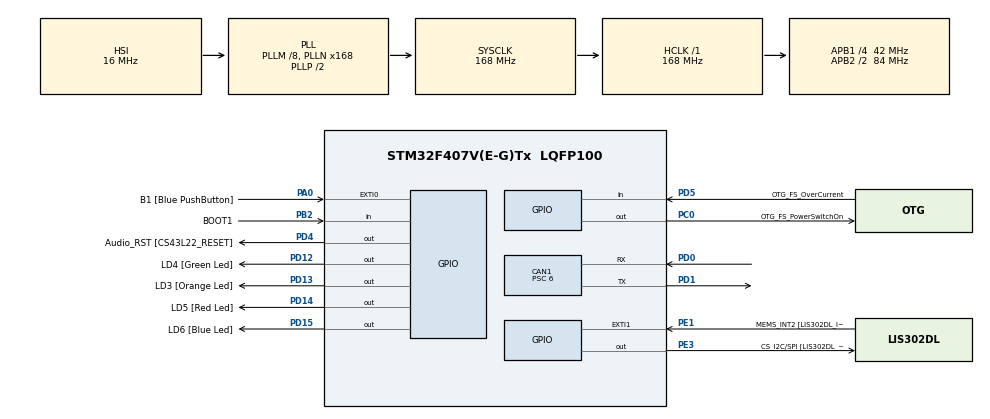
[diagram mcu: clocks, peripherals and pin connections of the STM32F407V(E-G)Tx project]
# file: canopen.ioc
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CAN1.BS1=CAN_BS1_11TQ
CAN1.BS2=CAN_BS2_2TQ
CAN1.CalculateBaudRate=500000
CAN1.CalculateTimeBit=2000
CAN1.CalculateTimeQuantum=142.85714285714286
CAN1.NART=ENABLE
CAN1.Prescaler=6
Mcu.Family=STM32F4
Mcu.Name=STM32F407V(E-G)Tx
Mcu.Package=LQFP100
NVIC.CAN1_RX0_IRQn=true\:0\:0\:false\:false\:true\:true\:true\:true
NVIC.PriorityGroup=NVIC_PRIORITYGROUP_0
PA0-WKUP.GPIO_Label=B1 [Blue PushButton]
PA0-WKUP.Signal=GPXTI0
PA10.GPIO_Label=OTG_FS_ID
PA10.GPIO_Mode=GPIO_MODE_AF_PP
PA10.GPIO_PuPd=GPIO_NOPULL
PA10.GPIO_Speed=GPIO_SPEED_FREQ_LOW
PA10.Signal=USB_OTG_FS_ID
PA11.GPIO_Label=OTG_FS_DM
PA11.GPIO_Mode=GPIO_MODE_AF_PP
PA11.GPIO_PuPd=GPIO_NOPULL
PA11.GPIO_Speed=GPIO_SPEED_FREQ_LOW
PA11.Signal=USB_OTG_FS_DM
PA12.GPIO_Label=OTG_FS_DP
PA12.GPIO_Mode=GPIO_MODE_AF_PP
PA12.GPIO_PuPd=GPIO_NOPULL
PA12.GPIO_Speed=GPIO_SPEED_FREQ_LOW
PA12.Signal=USB_OTG_FS_DP
PA13.GPIO_Label=SWDIO
PA13.Signal=SYS_JTMS-SWDIO
PA14.GPIO_Label=SWCLK
PA14.Signal=SYS_JTCK-SWCLK
PA4.GPIO_Label=I2S3_WS [CS43L22_LRCK]
PA4.GPIO_Mode=GPIO_MODE_AF_PP
PA4.GPIO_PuPd=GPIO_NOPULL
PA4.GPIO_Speed=GPIO_SPEED_FREQ_LOW
PA4.Signal=I2S3_WS
PA5.GPIO_Label=SPI1_SCK [LIS302DL_SCL/SPC]
PA5.GPIO_Mode=GPIO_MODE_AF_PP
PA5.GPIO_PuPd=GPIO_NOPULL
PA5.GPIO_Speed=GPIO_SPEED_FREQ_LOW
PA5.Signal=SPI1_SCK
PA6.GPIO_Label=SPI1_MISO [LIS302DL_SDO]
PA6.GPIO_Mode=GPIO_MODE_AF_PP
PA6.GPIO_PuPd=GPIO_NOPULL
PA6.GPIO_Speed=GPIO_SPEED_FREQ_LOW
PA6.Signal=SPI1_MISO
PA7.GPIO_Label=SPI1_MOSI [LIS302DL_SDA/SDI/SDO]
PA7.GPIO_Mode=GPIO_MODE_AF_PP
PA7.GPIO_PuPd=GPIO_NOPULL
PA7.GPIO_Speed=GPIO_SPEED_FREQ_LOW
PA7.Signal=SPI1_MOSI
PA9.GPIO_Label=VBUS_FS
PA9.GPIO_Mode=GPIO_MODE_INPUT
PA9.GPIO_PuPd=GPIO_NOPULL
PA9.Signal=USB_OTG_FS_VBUS
PB10.GPIO_Label=CLK_IN [MP45DT02_CLK]
PB10.GPIO_Mode=GPIO_MODE_AF_PP
PB10.GPIO_PuPd=GPIO_NOPULL
PB10.GPIO_Speed=GPIO_SPEED_FREQ_LOW
PB10.Signal=I2S2_CK
PB2.GPIO_Label=BOOT1
PB2.GPIO_Mode=GPIO_MODE_INPUT
PB2.GPIO_PuPd=GPIO_NOPULL
PB2.Signal=GPIO_Input
PB3.GPIO_Label=SWO
PB3.Signal=SYS_JTDO-SWO
PB6.GPIO_Label=Audio_SCL [CS43L22_SCL]
PB6.GPIO_Mode=GPIO_MODE_AF_OD
PB6.GPIO_PuPd=GPIO_NOPULL
PB6.GPIO_Speed=GPIO_SPEED_FREQ_LOW
PB6.Signal=I2C1_SCL
PB9.GPIO_Label=Audio_SDA [CS43L22_SDA]
PB9.GPIO_Mode=GPIO_MODE_AF_OD
PB9.GPIO_PuPd=GPIO_NOPULL
PB9.GPIO_Speed=GPIO_SPEED_FREQ_LOW
PB9.Signal=I2C1_SDA
PC0.GPIO_Label=OTG_FS_PowerSwitchOn
PC0.GPIO_PuPd=GPIO_NOPULL
PC0.GPIO_Speed=GPIO_SPEED_FREQ_LOW
PC0.PinState=GPIO_PIN_SET
PC0.Signal=GPIO_Output
PC10.GPIO_Label=I2S3_SCK [CS43L22_SCLK]
PC10.GPIO_Mode=GPIO_MODE_AF_PP
PC10.GPIO_PuPd=GPIO_NOPULL
PC10.GPIO_Speed=GPIO_SPEED_FREQ_LOW
PC10.Signal=I2S3_CK
PC12.GPIO_Label=I2S3_SD [CS43L22_SDIN]
PC12.GPIO_Mode=GPIO_MODE_AF_PP
PC12.GPIO_PuPd=GPIO_NOPULL
PC12.GPIO_Speed=GPIO_SPEED_FREQ_LOW
PC12.Signal=I2S3_SD
PC14-OSC32_IN.GPIO_Label=PC14-OSC32_IN
PC14-OSC32_IN.Signal=RCC_OSC32_IN
PC15-OSC32_OUT.GPIO_Label=PC15-OSC32_OUT
PC15-OSC32_OUT.Signal=RCC_OSC32_OUT
PC3.GPIO_Label=PDM_OUT [MP45DT02_DOUT]
PC3.GPIO_Mode=GPIO_MODE_AF_PP
PC3.GPIO_PuPd=GPIO_NOPULL
PC3.GPIO_Speed=GPIO_SPEED_FREQ_LOW
PC3.Signal=I2S2_SD
PC7.GPIO_Label=I2S3_MCK [CS43L22_MCLK]
PC7.GPIO_Mode=GPIO_MODE_AF_PP
PC7.GPIO_PuPd=GPIO_NOPULL
PC7.GPIO_Speed=GPIO_SPEED_FREQ_LOW
PC7.Signal=I2S3_MCK
PD0.Mode=CAN_Activate
PD0.Signal=CAN1_RX
PD1.Mode=CAN_Activate
PD1.Signal=CAN1_TX
PD12.GPIO_Label=LD4 [Green Led]
PD12.GPIO_PuPd=GPIO_NOPULL
PD12.GPIO_Speed=GPIO_SPEED_FREQ_LOW
PD12.Signal=GPIO_Output
PD13.GPIO_Label=LD3 [Orange Led]
PD13.GPIO_PuPd=GPIO_NOPULL
PD13.GPIO_Speed=GPIO_SPEED_FREQ_LOW
PD13.Signal=GPIO_Output
PD14.GPIO_Label=LD5 [Red Led]
PD14.GPIO_PuPd=GPIO_NOPULL
PD14.GPIO_Speed=GPIO_SPEED_FREQ_LOW
PD14.Signal=GPIO_Output
PD15.GPIO_Label=LD6 [Blue Led]
PD15.GPIO_PuPd=GPIO_NOPULL
PD15.GPIO_Speed=GPIO_SPEED_FREQ_LOW
PD15.Signal=GPIO_Output
PD4.GPIO_Label=Audio_RST [CS43L22_RESET]
PD4.GPIO_PuPd=GPIO_NOPULL
PD4.GPIO_Speed=GPIO_SPEED_FREQ_LOW
PD4.Signal=GPIO_Output
PD5.GPIO_Label=OTG_FS_OverCurrent
PD5.GPIO_Mode=GPIO_MODE_INPUT
PD5.GPIO_PuPd=GPIO_NOPULL
PD5.Signal=GPIO_Input
PE1.GPIO_Label=MEMS_INT2 [LIS302DL_INT2]
PE1.GPIO_ModeDefaultEXTI=GPIO_MODE_EVT_RISING
PE1.GPIO_PuPd=GPIO_NOPULL
PE1.Signal=GPXTI1
PE3.GPIO_Label=CS_I2C/SPI [LIS302DL_CS_I2C/SPI]
PE3.GPIO_PuPd=GPIO_NOPULL
PE3.GPIO_Speed=GPIO_SPEED_FREQ_LOW
PE3.Signal=GPIO_Output
PH0-OSC_IN.GPIO_Label=PH0-OSC_IN
PH0-OSC_IN.Signal=RCC_OSC_IN
PH1-OSC_OUT.GPIO_Label=PH1-OSC_OUT
PH1-OSC_OUT.Signal=RCC_OSC_OUT
ProjectManager.HeapSize=0x200
ProjectManager.StackSize=0x400
ProjectManager.TargetToolchain=STM32CubeIDE
RCC.48MHZClocksFreq_Value=48000000
RCC.AHBFreq_Value=168000000
RCC.APB1CLKDivider=RCC_HCLK_DIV4
RCC.APB1Freq_Value=42000000
RCC.APB1TimFreq_Value=84000000
RCC.APB2CLKDivider=RCC_HCLK_DIV2
RCC.APB2Freq_Value=84000000
RCC.APB2TimFreq_Value=168000000
RCC.CortexFreq_Value=168000000
RCC.HCLKFreq_Value=168000000
RCC.HSE_VALUE=8000000
RCC.HSI_VALUE=16000000
RCC.LSE_VALUE=32768
RCC.PLLM=8
RCC.PLLN=168
RCC.PLLQ=7
RCC.SYSCLKFreq_VALUE=168000000
RCC.SYSCLKSource=RCC_SYSCLKSOURCE_PLLCLK
RCC.VCOOutputFreq_Value=336000000
board=STM32F407G-DISC1

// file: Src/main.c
/* USER CODE BEGIN Header */
/**
  ******************************************************************************
  * @file           : main.c
  * @brief          : CANopen motor control
  ******************************************************************************
  */
/* USER CODE END Header */

#include "main.h"

/* USER CODE BEGIN PD */

#define MOTOR_NODE_ID              1

/* CANopen COB-IDs */
#define NMT_ID                      0x000
#define SDO_TX_ID                   (0x600 + MOTOR_NODE_ID)
#define SDO_RX_ID                   (0x580 + MOTOR_NODE_ID)

/* CiA-402 Object Dictionary */
#define OD_CONTROLWORD              0x6040
#define OD_STATUSWORD               0x6041
#define OD_MODE_OF_OPERATION        0x6060
#define OD_MODE_DISPLAY             0x6061
#define OD_TARGET_VELOCITY           0x60FF

/* CiA-402 Controlwords */
#define CONTROLWORD_SHUTDOWN         0x0006
#define CONTROLWORD_SWITCH_ON        0x0007
#define CONTROLWORD_ENABLE_OPERATION 0x000F
#define CONTROLWORD_DISABLE_VOLTAGE  0x0000

/* Profile Velocity mode */
#define MODE_PROFILE_VELOCITY        3

/* Change this value according to your motor drive */
#define MOTOR_TARGET_VELOCITY        1000

/* USER CODE END PD */

CAN_HandleTypeDef hcan1;

/* USER CODE BEGIN PV */

CAN_TxHeaderTypeDef TxHeader;
CAN_RxHeaderTypeDef RxHeader;

uint8_t TxData[8];
uint8_t RxData[8];

uint32_t TxMailbox;

volatile uint16_t ReceivedStatusword = 0;
volatile uint8_t StatuswordReceived = 0;

volatile uint8_t SDO_ResponseReceived = 0;
volatile uint8_t SDO_Error = 0;

volatile uint32_t LastTxError = 0;

/* USER CODE END PV */

void SystemClock_Config(void);
static void MX_GPIO_Init(void);
static void MX_CAN1_Init(void);

/* USER CODE BEGIN PFP */

void CANopen_StartNode(uint8_t NodeID);

HAL_StatusTypeDef CANopen_Write16(uint16_t index,
                                  uint8_t subindex,
                                  uint16_t value);

HAL_StatusTypeDef CANopen_Read16(uint16_t index,
                                 uint8_t subindex);

void CANopen_ReadStatusword(void);

HAL_StatusTypeDef CANopen_SetMode(uint8_t mode);

HAL_StatusTypeDef CANopen_SetTargetVelocity(int32_t velocity);

HAL_StatusTypeDef CANopen_EnableMotor(void);

HAL_StatusTypeDef CANopen_StopMotor(void);

/* USER CODE END PFP */

int main(void)
{
  /* MCU Configuration--------------------------------------------------------*/

  HAL_Init();

  /* Configure the system clock */
  SystemClock_Config();

  /* Initialize all configured peripherals */
  MX_GPIO_Init();
  MX_CAN1_Init();

  /* USER CODE BEGIN 2 */

  /******************************************************************
   * CAN FILTER
   *
   * Accept all CAN IDs.
   ******************************************************************/

  CAN_FilterTypeDef canfilterconfig;

  canfilterconfig.FilterActivation = CAN_FILTER_ENABLE;
  canfilterconfig.FilterBank = 0;
  canfilterconfig.FilterFIFOAssignment = CAN_FILTER_FIFO0;
  canfilterconfig.FilterMode = CAN_FILTERMODE_IDMASK;
  canfilterconfig.FilterScale = CAN_FILTERSCALE_32BIT;

  canfilterconfig.FilterIdHigh = 0x0000;
  canfilterconfig.FilterIdLow = 0x0000;

  canfilterconfig.FilterMaskIdHigh = 0x0000;
  canfilterconfig.FilterMaskIdLow = 0x0000;

  if (HAL_CAN_ConfigFilter(&hcan1, &canfilterconfig) != HAL_OK)
  {
    Error_Handler();
  }

  /******************************************************************
   * START CAN
   ******************************************************************/

  if (HAL_CAN_Start(&hcan1) != HAL_OK)
  {
    Error_Handler();
  }

  /******************************************************************
   * ENABLE CAN RX INTERRUPT
   ******************************************************************/

  if (HAL_CAN_ActivateNotification(
        &hcan1,
        CAN_IT_RX_FIFO0_MSG_PENDING) != HAL_OK)
  {
    Error_Handler();
  }

  /******************************************************************
   * NMT START REMOTE NODE
   *
   * CAN ID = 0x000
   * DATA[0] = 0x01
   * DATA[1] = Node ID
   ******************************************************************/

  CANopen_StartNode(MOTOR_NODE_ID);

  HAL_Delay(100);

  /******************************************************************
   * SET PROFILE VELOCITY MODE
   *
   * Object 0x6060
   * Subindex 0
   * Value = 3
   ******************************************************************/

  if (CANopen_SetMode(MODE_PROFILE_VELOCITY) != HAL_OK)
  {
    Error_Handler();
  }

  HAL_Delay(100);

  /******************************************************************
   * CIA-402 STATE MACHINE
   *
   * Shutdown
   *      ↓
   * Switch On
   *      ↓
   * Enable Operation
   ******************************************************************/

  if (CANopen_Write16(
        OD_CONTROLWORD,
        0x00,
        CONTROLWORD_SHUTDOWN) != HAL_OK)
  {
    Error_Handler();
  }

  HAL_Delay(100);

  if (CANopen_Write16(
        OD_CONTROLWORD,
        0x00,
        CONTROLWORD_SWITCH_ON) != HAL_OK)
  {
    Error_Handler();
  }

  HAL_Delay(100);

  if (CANopen_Write16(
        OD_CONTROLWORD,
        0x00,
        CONTROLWORD_ENABLE_OPERATION) != HAL_OK)
  {
    Error_Handler();
  }

  HAL_Delay(100);

  /******************************************************************
   * READ STATUSWORD
   ******************************************************************/

  CANopen_ReadStatusword();

  HAL_Delay(100);

  /******************************************************************
   * SET TARGET VELOCITY
   *
   * Object 0x60FF
   ******************************************************************/

  if (CANopen_SetTargetVelocity(MOTOR_TARGET_VELOCITY) != HAL_OK)
  {
    Error_Handler();
  }

  HAL_Delay(100);

  /* USER CODE END 2 */

  /* Infinite loop */
  while (1)
  {
    /**************************************************************
     * READ STATUSWORD PERIODICALLY
     **************************************************************/

    CANopen_ReadStatusword();

    HAL_Delay(500);

    /**************************************************************
     * MOTOR REMAINS ENABLED
     *
     * Do NOT repeatedly send 0x0006 → 0x0007 → 0x000F here.
     *
     * The motor stays in Operation Enabled state.
     **************************************************************/

    /**************************************************************
     * EXAMPLE:
     *
     * To change motor velocity:
     *
     * CANopen_SetTargetVelocity(2000);
     *
     * or:
     *
     * CANopen_SetTargetVelocity(-1000);
     *
     **************************************************************/
  }
}

void SystemClock_Config(void)
{
  RCC_OscInitTypeDef RCC_OscInitStruct = {0};
  RCC_ClkInitTypeDef RCC_ClkInitStruct = {0};

  __HAL_RCC_PWR_CLK_ENABLE();

  __HAL_PWR_VOLTAGESCALING_CONFIG(
      PWR_REGULATOR_VOLTAGE_SCALE1);

  RCC_OscInitStruct.OscillatorType =
      RCC_OSCILLATORTYPE_HSI;

  RCC_OscInitStruct.HSIState =
      RCC_HSI_ON;

  RCC_OscInitStruct.HSICalibrationValue =
      RCC_HSICALIBRATION_DEFAULT;

  RCC_OscInitStruct.PLL.PLLState =
      RCC_PLL_ON;

  RCC_OscInitStruct.PLL.PLLSource =
      RCC_PLLSOURCE_HSI;

  RCC_OscInitStruct.PLL.PLLM = 8;
  RCC_OscInitStruct.PLL.PLLN = 168;
  RCC_OscInitStruct.PLL.PLLP = RCC_PLLP_DIV2;
  RCC_OscInitStruct.PLL.PLLQ = 7;

  if (HAL_RCC_OscConfig(&RCC_OscInitStruct) != HAL_OK)
  {
    Error_Handler();
  }

  RCC_ClkInitStruct.ClockType =
      RCC_CLOCKTYPE_HCLK |
      RCC_CLOCKTYPE_SYSCLK |
      RCC_CLOCKTYPE_PCLK1 |
      RCC_CLOCKTYPE_PCLK2;

  RCC_ClkInitStruct.SYSCLKSource =
      RCC_SYSCLKSOURCE_PLLCLK;

  RCC_ClkInitStruct.AHBCLKDivider =
      RCC_SYSCLK_DIV1;

  RCC_ClkInitStruct.APB1CLKDivider =
      RCC_HCLK_DIV4;

  RCC_ClkInitStruct.APB2CLKDivider =
      RCC_HCLK_DIV2;

  if (HAL_RCC_ClockConfig(
        &RCC_ClkInitStruct,
        FLASH_LATENCY_5) != HAL_OK)
  {
    Error_Handler();
  }
}

static void MX_CAN1_Init(void)
{
  hcan1.Instance = CAN1;

  hcan1.Init.Prescaler = 6;

  hcan1.Init.Mode =
      CAN_MODE_NORMAL;

  hcan1.Init.SyncJumpWidth =
      CAN_SJW_1TQ;

  hcan1.Init.TimeSeg1 =
      CAN_BS1_11TQ;

  hcan1.Init.TimeSeg2 =
      CAN_BS2_2TQ;

  hcan1.Init.TimeTriggeredMode =
      DISABLE;

  hcan1.Init.AutoBusOff =
      DISABLE;

  hcan1.Init.AutoWakeUp =
      DISABLE;

  hcan1.Init.AutoRetransmission =
      ENABLE;

  hcan1.Init.ReceiveFifoLocked =
      DISABLE;

  hcan1.Init.TransmitFifoPriority =
      DISABLE;

  if (HAL_CAN_Init(&hcan1) != HAL_OK)
  {
    Error_Handler();
  }
}

static void MX_GPIO_Init(void)
{
  GPIO_InitTypeDef GPIO_InitStruct = {0};

  /* GPIO Ports Clock Enable */

  __HAL_RCC_GPIOE_CLK_ENABLE();
  __HAL_RCC_GPIOC_CLK_ENABLE();
  __HAL_RCC_GPIOH_CLK_ENABLE();
  __HAL_RCC_GPIOA_CLK_ENABLE();
  __HAL_RCC_GPIOB_CLK_ENABLE();
  __HAL_RCC_GPIOD_CLK_ENABLE();

  /* Configure GPIO pin Output Level */

  HAL_GPIO_WritePin(
      CS_I2C_SPI_GPIO_Port,
      CS_I2C_SPI_Pin,
      GPIO_PIN_RESET);

  HAL_GPIO_WritePin(
      OTG_FS_PowerSwitchOn_GPIO_Port,
      OTG_FS_PowerSwitchOn_Pin,
      GPIO_PIN_SET);

  HAL_GPIO_WritePin(
      GPIOD,
      LD4_Pin |
      LD3_Pin |
      LD5_Pin |
      LD6_Pin |
      Audio_RST_Pin,
      GPIO_PIN_RESET);

  /* CS_I2C_SPI */

  GPIO_InitStruct.Pin =
      CS_I2C_SPI_Pin;

  GPIO_InitStruct.Mode =
      GPIO_MODE_OUTPUT_PP;

  GPIO_InitStruct.Pull =
      GPIO_NOPULL;

  GPIO_InitStruct.Speed =
      GPIO_SPEED_FREQ_LOW;

  HAL_GPIO_Init(
      CS_I2C_SPI_GPIO_Port,
      &GPIO_InitStruct);

  /* OTG_FS Power Switch */

  GPIO_InitStruct.Pin =
      OTG_FS_PowerSwitchOn_Pin;

  GPIO_InitStruct.Mode =
      GPIO_MODE_OUTPUT_PP;

  GPIO_InitStruct.Pull =
      GPIO_NOPULL;

  GPIO_InitStruct.Speed =
      GPIO_SPEED_FREQ_LOW;

  HAL_GPIO_Init(
      OTG_FS_PowerSwitchOn_GPIO_Port,
      &GPIO_InitStruct);

  /* PDM OUT */

  GPIO_InitStruct.Pin =
      PDM_OUT_Pin;

  GPIO_InitStruct.Mode =
      GPIO_MODE_AF_PP;

  GPIO_InitStruct.Pull =
      GPIO_NOPULL;

  GPIO_InitStruct.Speed =
      GPIO_SPEED_FREQ_LOW;

  GPIO_InitStruct.Alternate =
      GPIO_AF5_SPI2;

  HAL_GPIO_Init(
      PDM_OUT_GPIO_Port,
      &GPIO_InitStruct);

  /* User Button */

  GPIO_InitStruct.Pin =
      B1_Pin;

  GPIO_InitStruct.Mode =
      GPIO_MODE_IT_RISING;

  GPIO_InitStruct.Pull =
      GPIO_NOPULL;

  HAL_GPIO_Init(
      B1_GPIO_Port,
      &GPIO_InitStruct);

  /* I2S3 WS */

  GPIO_InitStruct.Pin =
      I2S3_WS_Pin;

  GPIO_InitStruct.Mode =
      GPIO_MODE_AF_PP;

  GPIO_InitStruct.Pull =
      GPIO_NOPULL;

  GPIO_InitStruct.Speed =
      GPIO_SPEED_FREQ_LOW;

  GPIO_InitStruct.Alternate =
      GPIO_AF6_SPI3;

  HAL_GPIO_Init(
      I2S3_WS_GPIO_Port,
      &GPIO_InitStruct);

  /* SPI1 */

  GPIO_InitStruct.Pin =
      SPI1_SCK_Pin |
      SPI1_MISO_Pin |
      SPI1_MOSI_Pin;

  GPIO_InitStruct.Mode =
      GPIO_MODE_AF_PP;

  GPIO_InitStruct.Pull =
      GPIO_NOPULL;

  GPIO_InitStruct.Speed =
      GPIO_SPEED_FREQ_LOW;

  GPIO_InitStruct.Alternate =
      GPIO_AF5_SPI1;

  HAL_GPIO_Init(
      GPIOA,
      &GPIO_InitStruct);

  /* BOOT1 */

  GPIO_InitStruct.Pin =
      BOOT1_Pin;

  GPIO_InitStruct.Mode =
      GPIO_MODE_INPUT;

  GPIO_InitStruct.Pull =
      GPIO_NOPULL;

  HAL_GPIO_Init(
      BOOT1_GPIO_Port,
      &GPIO_InitStruct);

  /* CLK IN */

  GPIO_InitStruct.Pin =
      CLK_IN_Pin;

  GPIO_InitStruct.Mode =
      GPIO_MODE_AF_PP;

  GPIO_InitStruct.Pull =
      GPIO_NOPULL;

  GPIO_InitStruct.Speed =
      GPIO_SPEED_FREQ_LOW;

  GPIO_InitStruct.Alternate =
      GPIO_AF5_SPI2;

  HAL_GPIO_Init(
      CLK_IN_GPIO_Port,
      &GPIO_InitStruct);

  /* LEDs */

  GPIO_InitStruct.Pin =
      LD4_Pin |
      LD3_Pin |
      LD5_Pin |
      LD6_Pin |
      Audio_RST_Pin;

  GPIO_InitStruct.Mode =
      GPIO_MODE_OUTPUT_PP;

  GPIO_InitStruct.Pull =
      GPIO_NOPULL;

  GPIO_InitStruct.Speed =
      GPIO_SPEED_FREQ_LOW;

  HAL_GPIO_Init(
      GPIOD,
      &GPIO_InitStruct);

  /* I2S3 */

  GPIO_InitStruct.Pin =
      I2S3_MCK_Pin |
      I2S3_SCK_Pin |
      I2S3_SD_Pin;

  GPIO_InitStruct.Mode =
      GPIO_MODE_AF_PP;

  GPIO_InitStruct.Pull =
      GPIO_NOPULL;

  GPIO_InitStruct.Speed =
      GPIO_SPEED_FREQ_LOW;

  GPIO_InitStruct.Alternate =
      GPIO_AF6_SPI3;

  HAL_GPIO_Init(
      GPIOC,
      &GPIO_InitStruct);

  /* VBUS */

  GPIO_InitStruct.Pin =
      VBUS_FS_Pin;

  GPIO_InitStruct.Mode =
      GPIO_MODE_INPUT;

  GPIO_InitStruct.Pull =
      GPIO_NOPULL;

  HAL_GPIO_Init(
      VBUS_FS_GPIO_Port,
      &GPIO_InitStruct);

  /* USB */

  GPIO_InitStruct.Pin =
      OTG_FS_ID_Pin |
      OTG_FS_DM_Pin |
      OTG_FS_DP_Pin;

  GPIO_InitStruct.Mode =
      GPIO_MODE_AF_PP;

  GPIO_InitStruct.Pull =
      GPIO_NOPULL;

  GPIO_InitStruct.Speed =
      GPIO_SPEED_FREQ_LOW;

  GPIO_InitStruct.Alternate =
      GPIO_AF10_OTG_FS;

  HAL_GPIO_Init(
      GPIOA,
      &GPIO_InitStruct);

  /* USB OverCurrent */

  GPIO_InitStruct.Pin =
      OTG_FS_OverCurrent_Pin;

  GPIO_InitStruct.Mode =
      GPIO_MODE_INPUT;

  GPIO_InitStruct.Pull =
      GPIO_NOPULL;

  HAL_GPIO_Init(
      OTG_FS_OverCurrent_GPIO_Port,
      &GPIO_InitStruct);

  /* I2C */

  GPIO_InitStruct.Pin =
      Audio_SCL_Pin |
      Audio_SDA_Pin;

  GPIO_InitStruct.Mode =
      GPIO_MODE_AF_OD;

  GPIO_InitStruct.Pull =
      GPIO_NOPULL;

  GPIO_InitStruct.Speed =
      GPIO_SPEED_FREQ_LOW;

  GPIO_InitStruct.Alternate =
      GPIO_AF4_I2C1;

  HAL_GPIO_Init(
      GPIOB,
      &GPIO_InitStruct);

  /* MEMS */

  GPIO_InitStruct.Pin =
      MEMS_INT2_Pin;

  GPIO_InitStruct.Mode =
      GPIO_MODE_EVT_RISING;

  GPIO_InitStruct.Pull =
      GPIO_NOPULL;

  HAL_GPIO_Init(
      MEMS_INT2_GPIO_Port,
      &GPIO_InitStruct);
}

/* USER CODE BEGIN 4 */

/******************************************************************
 * CANopen Start Node
 *
 * CAN ID: 0x000
 *
 * DATA:
 * 01 = Start Remote Node
 * Node ID
 ******************************************************************/

void CANopen_StartNode(uint8_t NodeID)
{
  TxHeader.StdId = NMT_ID;
  TxHeader.ExtId = 0;

  TxHeader.IDE =
      CAN_ID_STD;

  TxHeader.RTR =
      CAN_RTR_DATA;

  TxHeader.DLC =
      2;

  TxHeader.TransmitGlobalTime =
      DISABLE;

  TxData[0] = 0x01;
  TxData[1] = NodeID;

  if (HAL_CAN_AddTxMessage(
        &hcan1,
        &TxHeader,
        TxData,
        &TxMailbox) != HAL_OK)
  {
    LastTxError =
        HAL_CAN_GetError(&hcan1);
  }
}

/******************************************************************
 * CANopen Write 16-bit Object
 *
 * SDO request:
 *
 * 2B IndexLow IndexHigh Subindex
 *    DataLow DataHigh 00 00
 *
 ******************************************************************/

HAL_StatusTypeDef CANopen_Write16(
    uint16_t index,
    uint8_t subindex,
    uint16_t value)
{
  TxHeader.StdId =
      SDO_TX_ID;

  TxHeader.ExtId =
      0;

  TxHeader.IDE =
      CAN_ID_STD;

  TxHeader.RTR =
      CAN_RTR_DATA;

  TxHeader.DLC =
      8;

  TxHeader.TransmitGlobalTime =
      DISABLE;

  TxData[0] =
      0x2B;

  TxData[1] =
      index & 0xFF;

  TxData[2] =
      (index >> 8) & 0xFF;

  TxData[3] =
      subindex;

  TxData[4] =
      value & 0xFF;

  TxData[5] =
      (value >> 8) & 0xFF;

  TxData[6] =
      0x00;

  TxData[7] =
      0x00;

  return HAL_CAN_AddTxMessage(
      &hcan1,
      &TxHeader,
      TxData,
      &TxMailbox);
}

/******************************************************************
 * CANopen Read 16-bit Object
 ******************************************************************/

HAL_StatusTypeDef CANopen_Read16(
    uint16_t index,
    uint8_t subindex)
{
  TxHeader.StdId =
      SDO_TX_ID;

  TxHeader.ExtId =
      0;

  TxHeader.IDE =
      CAN_ID_STD;

  TxHeader.RTR =
      CAN_RTR_DATA;

  TxHeader.DLC =
      8;

  TxHeader.TransmitGlobalTime =
      DISABLE;

  TxData[0] =
      0x40;

  TxData[1] =
      index & 0xFF;

  TxData[2] =
      (index >> 8) & 0xFF;

  TxData[3] =
      subindex;

  TxData[4] =
      0x00;

  TxData[5] =
      0x00;

  TxData[6] =
      0x00;

  TxData[7] =
      0x00;

  return HAL_CAN_AddTxMessage(
      &hcan1,
      &TxHeader,
      TxData,
      &TxMailbox);
}

/******************************************************************
 * Read Statusword
 *
 * Object = 0x6041
 ******************************************************************/

void CANopen_ReadStatusword(void)
{
  CANopen_Read16(
      OD_STATUSWORD,
      0x00);
}

/******************************************************************
 * Set Mode of Operation
 *
 * Object = 0x6060
 *
 * Value 3 = Profile Velocity Mode
 ******************************************************************/

HAL_StatusTypeDef CANopen_SetMode(
    uint8_t mode)
{
  TxHeader.StdId =
      SDO_TX_ID;

  TxHeader.ExtId =
      0;

  TxHeader.IDE =
      CAN_ID_STD;

  TxHeader.RTR =
      CAN_RTR_DATA;

  TxHeader.DLC =
      8;

  TxHeader.TransmitGlobalTime =
      DISABLE;

  /*
   * 0x2F = Write 1 byte
   */

  TxData[0] =
      0x2F;

  TxData[1] =
      OD_MODE_OF_OPERATION & 0xFF;

  TxData[2] =
      (OD_MODE_OF_OPERATION >> 8) & 0xFF;

  TxData[3] =
      0x00;

  TxData[4] =
      mode;

  TxData[5] =
      0x00;

  TxData[6] =
      0x00;

  TxData[7] =
      0x00;

  return HAL_CAN_AddTxMessage(
      &hcan1,
      &TxHeader,
      TxData,
      &TxMailbox);
}

/******************************************************************
 * Set Target Velocity
 *
 * Object = 0x60FF
 *
 * 32-bit signed value
 *
 ******************************************************************/

HAL_StatusTypeDef CANopen_SetTargetVelocity(
    int32_t velocity)
{
  TxHeader.StdId =
      SDO_TX_ID;

  TxHeader.ExtId =
      0;

  TxHeader.IDE =
      CAN_ID_STD;

  TxHeader.RTR =
      CAN_RTR_DATA;

  TxHeader.DLC =
      8;

  TxHeader.TransmitGlobalTime =
      DISABLE;

  /*
   * 0x23 = Write 4 bytes
   */

  TxData[0] =
      0x23;

  TxData[1] =
      OD_TARGET_VELOCITY & 0xFF;

  TxData[2] =
      (OD_TARGET_VELOCITY >> 8) & 0xFF;

  TxData[3] =
      0x00;

  TxData[4] =
      (uint8_t)(velocity & 0xFF);

  TxData[5] =
      (uint8_t)((velocity >> 8) & 0xFF);

  TxData[6] =
      (uint8_t)((velocity >> 16) & 0xFF);

  TxData[7] =
      (uint8_t)((velocity >> 24) & 0xFF);

  return HAL_CAN_AddTxMessage(
      &hcan1,
      &TxHeader,
      TxData,
      &TxMailbox);
}

/******************************************************************
 * Enable Motor
 ******************************************************************/

HAL_StatusTypeDef CANopen_EnableMotor(void)
{
  HAL_StatusTypeDef status;

  /* Shutdown */

  status =
      CANopen_Write16(
          OD_CONTROLWORD,
          0x00,
          CONTROLWORD_SHUTDOWN);

  if (status != HAL_OK)
  {
    return status;
  }

  HAL_Delay(100);

  /* Switch On */

  status =
      CANopen_Write16(
          OD_CONTROLWORD,
          0x00,
          CONTROLWORD_SWITCH_ON);

  if (status != HAL_OK)
  {
    return status;
  }

  HAL_Delay(100);

  /* Enable Operation */

  status =
      CANopen_Write16(
          OD_CONTROLWORD,
          0x00,
          CONTROLWORD_ENABLE_OPERATION);

  if (status != HAL_OK)
  {
    return status;
  }

  HAL_Delay(100);

  return HAL_OK;
}

/******************************************************************
 * Stop Motor
 ******************************************************************/

HAL_StatusTypeDef CANopen_StopMotor(void)
{
  return CANopen_Write16(
      OD_CONTROLWORD,
      0x00,
      CONTROLWORD_DISABLE_VOLTAGE);
}

/******************************************************************
 * CAN RX CALLBACK
 ******************************************************************/

void HAL_CAN_RxFifo0MsgPendingCallback(
    CAN_HandleTypeDef *hcan)
{
  if (hcan->Instance != CAN1)
  {
    return;
  }

  if (HAL_CAN_GetRxMessage(
        hcan,
        CAN_RX_FIFO0,
        &RxHeader,
        RxData) != HAL_OK)
  {
    return;
  }

  /***************************************************************
   * SDO RESPONSE FROM MOTOR
   *
   * Node ID 1:
   *
   * TX from master = 0x601
   * RX from motor  = 0x581
   ***************************************************************/

  if (RxHeader.StdId == SDO_RX_ID)
  {
    SDO_ResponseReceived = 1;

    /*************************************************************
     * SDO ERROR RESPONSE
     *
     * 0x80 = Abort transfer
     *************************************************************/

    if (RxData[0] == 0x80)
    {
      SDO_Error = 1;

      return;
    }

    /*************************************************************
     * STATUSWORD RESPONSE
     *
     * 0x4B 41 60 00 LL HH 00 00
     *************************************************************/

    if ((RxData[0] == 0x4B) &&
        (RxData[1] == 0x41) &&
        (RxData[2] == 0x60) &&
        (RxData[3] == 0x00))
    {
      ReceivedStatusword =
          ((uint16_t)RxData[5] << 8) |
          RxData[4];

      StatuswordReceived = 1;
    }
  }
}

/* USER CODE END 4 */

void Error_Handler(void)
{
  __disable_irq();

  while (1)
  {
  }
}
